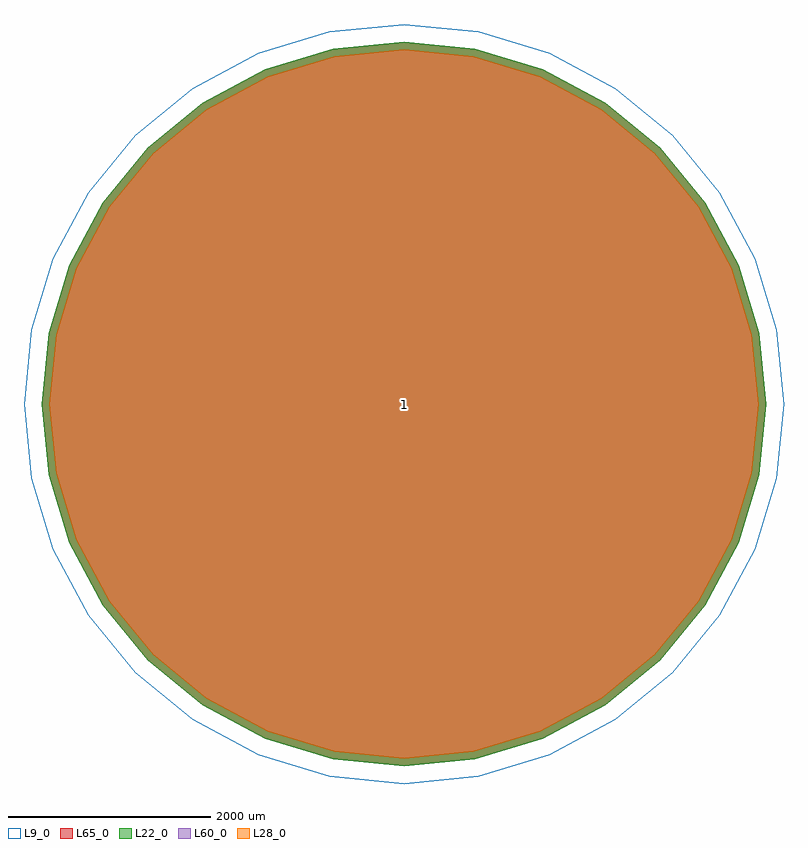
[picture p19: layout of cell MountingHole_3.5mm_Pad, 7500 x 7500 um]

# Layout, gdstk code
import gdstk
lib = gdstk.Library(unit=1e-6, precision=1e-09)
def P(c, l, *ps):  # polygons
    for p in ps: c.add(gdstk.Polygon(p, *l))
L9_0 = (9, 0)
L22_0 = (22, 0)
L28_0 = (28, 0)
L60_0 = (60, 0)
L65_0 = (65, 0)

mountinghole_3_5mm_pad = lib.new_cell('MountingHole_3.5mm_Pad')
P(mountinghole_3_5mm_pad, L9_0, [(3750,0),(3677.945,731.589),(3464.548,1435.063),(3118.011,2083.388),(2651.65,2651.65),(2083.388,3118.011),(1435.063,3464.548),(731.589,3677.945),(0,3750),(-731.589,3677.945),(-1435.063,3464.548),(-2083.388,3118.011),(-2651.65,2651.65),(-3118.011,2083.388),(-3464.548,1435.063),(-3677.945,731.589),(-3750,0),(-3677.945,-731.589),(-3464.548,-1435.063),(-3118.011,-2083.388),(-2651.65,-2651.65),(-2083.388,-3118.011),(-1435.063,-3464.548),(-731.589,-3677.945),(0,-3750),(731.589,-3677.945),(1435.063,-3464.548),(2083.388,-3118.011),(2651.65,-2651.65),(3118.011,-2083.388),(3464.548,-1435.063),(3677.945,-731.589)],
  [(3500,0),(3432.748,682.816),(3233.578,1339.392),(2910.144,1944.496),(2474.874,2474.874),(1944.496,2910.144),(1339.392,3233.578),(682.816,3432.748),(0,3500),(-682.816,3432.748),(-1339.392,3233.578),(-1944.496,2910.144),(-2474.874,2474.874),(-2910.144,1944.496),(-3233.578,1339.392),(-3432.748,682.816),(-3500,0),(-3432.748,-682.816),(-3233.578,-1339.392),(-2910.144,-1944.496),(-2474.874,-2474.874),(-1944.496,-2910.144),(-1339.392,-3233.578),(-682.816,-3432.748),(0,-3500),(682.816,-3432.748),(1339.392,-3233.578),(1944.496,-2910.144),(2474.874,-2474.874),(2910.144,-1944.496),(3233.578,-1339.392),(3432.748,-682.816)])
P(mountinghole_3_5mm_pad, L22_0, [(3575,0),(3506.307,697.448),(3302.869,1368.093),(2972.504,1986.164),(2527.907,2527.907),(1986.164,2972.504),(1368.093,3302.869),(697.448,3506.307),(0,3575),(-697.448,3506.307),(-1368.093,3302.869),(-1986.164,2972.504),(-2527.907,2527.907),(-2972.504,1986.164),(-3302.869,1368.093),(-3506.307,697.448),(-3575,0),(-3506.307,-697.448),(-3302.869,-1368.093),(-2972.504,-1986.164),(-2527.907,-2527.907),(-1986.164,-2972.504),(-1368.093,-3302.869),(-697.448,-3506.307),(0,-3575),(697.448,-3506.307),(1368.093,-3302.869),(1986.164,-2972.504),(2527.907,-2527.907),(2972.504,-1986.164),(3302.869,-1368.093),(3506.307,-697.448)])
P(mountinghole_3_5mm_pad, L28_0, [(3500,0),(3432.748,682.816),(3233.578,1339.392),(2910.144,1944.496),(2474.874,2474.874),(1944.496,2910.144),(1339.392,3233.578),(682.816,3432.748),(0,3500),(-682.816,3432.748),(-1339.392,3233.578),(-1944.496,2910.144),(-2474.874,2474.874),(-2910.144,1944.496),(-3233.578,1339.392),(-3432.748,682.816),(-3500,0),(-3432.748,-682.816),(-3233.578,-1339.392),(-2910.144,-1944.496),(-2474.874,-2474.874),(-1944.496,-2910.144),(-1339.392,-3233.578),(-682.816,-3432.748),(0,-3500),(682.816,-3432.748),(1339.392,-3233.578),(1944.496,-2910.144),(2474.874,-2474.874),(2910.144,-1944.496),(3233.578,-1339.392),(3432.748,-682.816)])
P(mountinghole_3_5mm_pad, L60_0, [(3500,0),(3432.748,682.816),(3233.578,1339.392),(2910.144,1944.496),(2474.874,2474.874),(1944.496,2910.144),(1339.392,3233.578),(682.816,3432.748),(0,3500),(-682.816,3432.748),(-1339.392,3233.578),(-1944.496,2910.144),(-2474.874,2474.874),(-2910.144,1944.496),(-3233.578,1339.392),(-3432.748,682.816),(-3500,0),(-3432.748,-682.816),(-3233.578,-1339.392),(-2910.144,-1944.496),(-2474.874,-2474.874),(-1944.496,-2910.144),(-1339.392,-3233.578),(-682.816,-3432.748),(0,-3500),(682.816,-3432.748),(1339.392,-3233.578),(1944.496,-2910.144),(2474.874,-2474.874),(2910.144,-1944.496),(3233.578,-1339.392),(3432.748,-682.816)])
P(mountinghole_3_5mm_pad, L65_0, [(3575,0),(3506.307,697.448),(3302.869,1368.093),(2972.504,1986.164),(2527.907,2527.907),(1986.164,2972.504),(1368.093,3302.869),(697.448,3506.307),(0,3575),(-697.448,3506.307),(-1368.093,3302.869),(-1986.164,2972.504),(-2527.907,2527.907),(-2972.504,1986.164),(-3302.869,1368.093),(-3506.307,697.448),(-3575,0),(-3506.307,-697.448),(-3302.869,-1368.093),(-2972.504,-1986.164),(-2527.907,-2527.907),(-1986.164,-2972.504),(-1368.093,-3302.869),(-697.448,-3506.307),(0,-3575),(697.448,-3506.307),(1368.093,-3302.869),(1986.164,-2972.504),(2527.907,-2527.907),(2972.504,-1986.164),(3302.869,-1368.093),(3506.307,-697.448)])
mountinghole_3_5mm_pad.add(gdstk.Label('1', (0,0), layer=28, texttype=0))
mountinghole_3_5mm_pad.add(gdstk.Label('type', (0,-4500), layer=9, texttype=0))
mountinghole_3_5mm_pad.add(gdstk.Label('devicename', (0,4500), layer=9, texttype=0))

lib.write_gds('MountingHole_3.5mm_Pad.gds')
